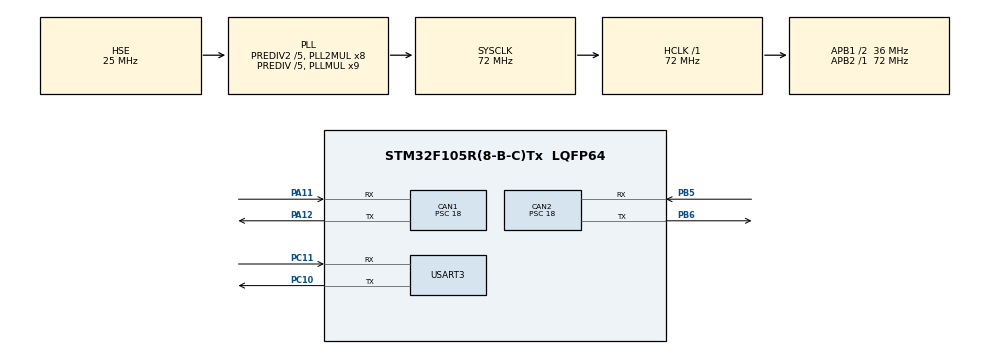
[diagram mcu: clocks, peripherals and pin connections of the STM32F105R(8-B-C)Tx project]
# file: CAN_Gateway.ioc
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CAN1.BS1=CAN_BS1_14TQ
CAN1.CalculateBaudRate=125000
CAN1.CalculateTimeBit=8000
CAN1.CalculateTimeQuantum=500.0
CAN1.Mode=CAN_MODE_NORMAL
CAN1.NART=ENABLE
CAN1.Prescaler=18
CAN2.BS1=CAN_BS1_2TQ
CAN2.CalculateBaudRate=500000
CAN2.CalculateTimeBit=2000
CAN2.CalculateTimeQuantum=500.0
CAN2.Mode=CAN_MODE_NORMAL
CAN2.NART=ENABLE
CAN2.Prescaler=18
Mcu.Family=STM32F1
Mcu.Name=STM32F105R(8-B-C)Tx
Mcu.Package=LQFP64
NVIC.PriorityGroup=NVIC_PRIORITYGROUP_4
PA11.Mode=CAN_Activate
PA11.Signal=CAN1_RX
PA12.Mode=CAN_Activate
PA12.Signal=CAN1_TX
PA13.Mode=Serial_Wire
PA13.Signal=SYS_JTMS-SWDIO
PA14.Mode=Serial_Wire
PA14.Signal=SYS_JTCK-SWCLK
PB5.Mode=CAN_Activate
PB5.Signal=CAN2_RX
PB6.Mode=CAN_Activate
PB6.Signal=CAN2_TX
PC10.Mode=Asynchronous
PC10.Signal=USART3_TX
PC11.Mode=Asynchronous
PC11.Signal=USART3_RX
PD0-OSC_IN.Mode=HSE-External-Oscillator
PD0-OSC_IN.Signal=RCC_OSC_IN
PD1-OSC_OUT.Mode=HSE-External-Oscillator
PD1-OSC_OUT.Signal=RCC_OSC_OUT
ProjectManager.HeapSize=0x200
ProjectManager.StackSize=0x400
ProjectManager.TargetToolchain=STM32CubeIDE
RCC.AHBFreq_Value=72000000
RCC.APB1CLKDivider=RCC_HCLK_DIV2
RCC.APB1Freq_Value=36000000
RCC.APB1TimFreq_Value=72000000
RCC.APB2Freq_Value=72000000
RCC.APB2TimFreq_Value=72000000
RCC.HCLKFreq_Value=72000000
RCC.HSEDivPLL=RCC_HSE_PREDIV_DIV5
RCC.HSE_VALUE=25000000
RCC.PLLMUL=RCC_PLL_MUL9
RCC.PLLSourceVirtual=RCC_PLLSOURCE_HSE
RCC.Prediv1Source=RCC_PREDIV1_SOURCE_PLL2
RCC.Prediv2=RCC_HSE_PREDIV2_DIV5
RCC.SYSCLKFreq_VALUE=72000000
RCC.SYSCLKSource=RCC_SYSCLKSOURCE_PLLCLK
RCC.USBFreq_Value=48000000
USART3.VirtualMode=VM_ASYNC
board=custom

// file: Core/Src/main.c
/* USER CODE BEGIN Header */
/**
  ******************************************************************************
  * @file           : main.c
  * @brief          : Main program body
  ******************************************************************************
  * @attention
  *
  * Copyright (c) 2023 STMicroelectronics.
  * All rights reserved.
  *
  * This software is licensed under terms that can be found in the LICENSE file
  * in the root directory of this software component.
  * If no LICENSE file comes with this software, it is provided AS-IS.
  *
  ******************************************************************************
  */
/* USER CODE END Header */
#include "main.h"

CAN_HandleTypeDef hcan1;
CAN_HandleTypeDef hcan2;

UART_HandleTypeDef huart3;

/* USER CODE BEGIN PV */
CAN_TxHeaderTypeDef TxHeader;
CAN_RxHeaderTypeDef RxHeader;
uint8_t TxData[8];
uint8_t RxData[8];
uint32_t TxMailbox;

uint32_t allowedIds[] = { 0x12F8BFA7, 0x12F8BE9F };
int allowedIdsSize;

//char uartBuffer[20] = "";
/* USER CODE END PV */

void SystemClock_Config(void);
static void MX_GPIO_Init(void);
static void MX_CAN1_Init(void);
static void MX_CAN2_Init(void);
static void MX_USART3_UART_Init(void);

int main(void)
{

  /* MCU Configuration--------------------------------------------------------*/

  /* Reset of all peripherals, Initializes the Flash interface and the Systick. */
  HAL_Init();

  /* Configure the system clock */
  SystemClock_Config();

  /* Initialize all configured peripherals */
  MX_GPIO_Init();
  MX_CAN1_Init();
  MX_CAN2_Init();
  MX_USART3_UART_Init();
  /* USER CODE BEGIN 2 */
  allowedIdsSize = sizeof allowedIds / sizeof allowedIds[0];
  char uartBuffer[] = "INIT\n";
  sendSerialMsg(uartBuffer, sizeof(uartBuffer));
  /* USER CODE END 2 */

  /* Infinite loop */
  /* USER CODE BEGIN WHILE */
  while (1)
  {

	  CAN_RX_STATUS rxStatus = recvCanMsg(hcan1);
	  if (rxStatus == RX_SUCCESSFUL)
	  {
		  CAN_TX_STATUS txStatus = relayCanMsg(hcan2, false);
		  if (txStatus == TX_BUFFER_FULL)
		  {
			  char uartBuffer[] = "TX2_BUFFER_FULL\n";
			  sendSerialMsg(uartBuffer, sizeof(uartBuffer));
		  }
		  else if (txStatus == TX_ERROR)
		  {
			  char uartBuffer[] = "TX2_ERROR\n";
			  sendSerialMsg(uartBuffer, sizeof(uartBuffer));
		  }
		  else if (txStatus == TX_SUCCESSFUL)
		  {
			  char uartBuffer[] = "TX2\n";
			  sendSerialMsg(uartBuffer, sizeof(uartBuffer));
		  }
	  }
	  else if (rxStatus == RX_ERROR)
	  {
		  char uartBuffer[] = "RX1_ERROR\n";
		  sendSerialMsg(uartBuffer, sizeof(uartBuffer));
	  }

	  // Uncomment for two-way gateway
	  /*
	  rxStatus = recvCanMsg(hcan2);
	  if (rxStatus == RX_SUCCESSFUL)
	  {
		  CAN_TX_STATUS txStatus = relayCanMsg(hcan1, false);
		  if (txStatus == TX_BUFFER_FULL)
		  {
			  char uartBuffer[] = "TX2_BUFFER_FULL\n";
			  sendSerialMsg(uartBuffer, sizeof(uartBuffer));
		  }
		  else if (txStatus == TX_ERROR)
		  {
			  char uartBuffer[] = "TX2_ERROR\n";
			  sendSerialMsg(uartBuffer, sizeof(uartBuffer));
		  }
		  else if (txStatus == TX_SUCCESSFUL)
		  {
			  char uartBuffer[] = "TX2\n";
			  sendSerialMsg(uartBuffer, sizeof(uartBuffer));
		  }
	  }
	  else if (rxStatus == RX_ERROR)
	  {
		  char uartBuffer[] = "RX1_ERROR\n";
		  sendSerialMsg(uartBuffer, sizeof(uartBuffer));
	  }
	  */

	  //HAL_Delay(100);
	  //sendTestMsg(hcan2, 0xAA);

    /* USER CODE END WHILE */

  }
}

void SystemClock_Config(void)
{
  RCC_OscInitTypeDef RCC_OscInitStruct = {0};
  RCC_ClkInitTypeDef RCC_ClkInitStruct = {0};

  /** Initializes the RCC Oscillators according to the specified parameters
  * in the RCC_OscInitTypeDef structure.
  */
  RCC_OscInitStruct.OscillatorType = RCC_OSCILLATORTYPE_HSE;
  RCC_OscInitStruct.HSEState = RCC_HSE_ON;
  RCC_OscInitStruct.HSEPredivValue = RCC_HSE_PREDIV_DIV5;
  RCC_OscInitStruct.HSIState = RCC_HSI_ON;
  RCC_OscInitStruct.Prediv1Source = RCC_PREDIV1_SOURCE_PLL2;
  RCC_OscInitStruct.PLL.PLLState = RCC_PLL_ON;
  RCC_OscInitStruct.PLL.PLLSource = RCC_PLLSOURCE_HSE;
  RCC_OscInitStruct.PLL.PLLMUL = RCC_PLL_MUL9;
  RCC_OscInitStruct.PLL2.PLL2State = RCC_PLL2_ON;
  RCC_OscInitStruct.PLL2.PLL2MUL = RCC_PLL2_MUL8;
  RCC_OscInitStruct.PLL2.HSEPrediv2Value = RCC_HSE_PREDIV2_DIV5;
  if (HAL_RCC_OscConfig(&RCC_OscInitStruct) != HAL_OK)
  {
    Error_Handler();
  }

  /** Initializes the CPU, AHB and APB buses clocks
  */
  RCC_ClkInitStruct.ClockType = RCC_CLOCKTYPE_HCLK|RCC_CLOCKTYPE_SYSCLK
                              |RCC_CLOCKTYPE_PCLK1|RCC_CLOCKTYPE_PCLK2;
  RCC_ClkInitStruct.SYSCLKSource = RCC_SYSCLKSOURCE_PLLCLK;
  RCC_ClkInitStruct.AHBCLKDivider = RCC_SYSCLK_DIV1;
  RCC_ClkInitStruct.APB1CLKDivider = RCC_HCLK_DIV2;
  RCC_ClkInitStruct.APB2CLKDivider = RCC_HCLK_DIV1;

  if (HAL_RCC_ClockConfig(&RCC_ClkInitStruct, FLASH_LATENCY_2) != HAL_OK)
  {
    Error_Handler();
  }

  /** Configure the Systick interrupt time
  */
  __HAL_RCC_PLLI2S_ENABLE();
}

static void MX_CAN1_Init(void)
{

  hcan1.Instance = CAN1;
  hcan1.Init.Prescaler = 18;
  hcan1.Init.Mode = CAN_MODE_NORMAL;
  hcan1.Init.SyncJumpWidth = CAN_SJW_1TQ;
  hcan1.Init.TimeSeg1 = CAN_BS1_14TQ;
  hcan1.Init.TimeSeg2 = CAN_BS2_1TQ;
  hcan1.Init.TimeTriggeredMode = DISABLE;
  hcan1.Init.AutoBusOff = DISABLE;
  hcan1.Init.AutoWakeUp = DISABLE;
  hcan1.Init.AutoRetransmission = ENABLE;
  hcan1.Init.ReceiveFifoLocked = DISABLE;
  hcan1.Init.TransmitFifoPriority = DISABLE;
  if (HAL_CAN_Init(&hcan1) != HAL_OK)
  {
    Error_Handler();
  }
  /* USER CODE BEGIN CAN1_Init 2 */
	CAN_FilterTypeDef sFilterConfig;
	sFilterConfig.FilterFIFOAssignment = CAN_FILTER_FIFO0;
	sFilterConfig.FilterBank = 0;
	sFilterConfig.FilterActivation = CAN_FILTER_ENABLE;
	sFilterConfig.FilterIdHigh = 0;
	sFilterConfig.FilterIdLow = 0;
	sFilterConfig.FilterMaskIdHigh = 0;
	sFilterConfig.FilterMaskIdLow = 0;
	sFilterConfig.FilterMode = CAN_FILTERMODE_IDMASK;
	sFilterConfig.FilterScale = CAN_FILTERSCALE_32BIT; //set filter scale
	sFilterConfig.SlaveStartFilterBank = 14; // 14 to 27 are assigned to slave CAN (CAN2), 0 to 13 are assigned to CAN1
	HAL_CAN_ConfigFilter(&hcan1, &sFilterConfig);

	if (HAL_CAN_Start(&hcan1) != HAL_OK) {
		/* Start Error */
		Error_Handler();
	}
  /* USER CODE END CAN1_Init 2 */

}

static void MX_CAN2_Init(void)
{

  hcan2.Instance = CAN2;
  hcan2.Init.Prescaler = 18;
  hcan2.Init.Mode = CAN_MODE_NORMAL;
  hcan2.Init.SyncJumpWidth = CAN_SJW_1TQ;
  hcan2.Init.TimeSeg1 = CAN_BS1_2TQ;
  hcan2.Init.TimeSeg2 = CAN_BS2_1TQ;
  hcan2.Init.TimeTriggeredMode = DISABLE;
  hcan2.Init.AutoBusOff = DISABLE;
  hcan2.Init.AutoWakeUp = DISABLE;
  hcan2.Init.AutoRetransmission = ENABLE;
  hcan2.Init.ReceiveFifoLocked = DISABLE;
  hcan2.Init.TransmitFifoPriority = DISABLE;
  if (HAL_CAN_Init(&hcan2) != HAL_OK)
  {
    Error_Handler();
  }
  /* USER CODE BEGIN CAN2_Init 2 */
	/*CAN_FilterTypeDef sFilterConfig;
	sFilterConfig.FilterFIFOAssignment = CAN_FILTER_FIFO0;
	sFilterConfig.FilterBank = 14;
	sFilterConfig.FilterActivation = CAN_FILTER_ENABLE;
	sFilterConfig.FilterIdHigh = 0;
	sFilterConfig.FilterIdLow = 0;
	sFilterConfig.FilterMaskIdHigh = 0;
	sFilterConfig.FilterMaskIdLow = 0;
	sFilterConfig.FilterMode = CAN_FILTERMODE_IDMASK;
	sFilterConfig.FilterScale = CAN_FILTERSCALE_32BIT; //set filter scale
	HAL_CAN_ConfigFilter(&hcan2, &sFilterConfig);*/

	if (HAL_CAN_Start(&hcan2) != HAL_OK) {
		/* Start Error */
		Error_Handler();
	}
  /* USER CODE END CAN2_Init 2 */

}

static void MX_USART3_UART_Init(void)
{

  huart3.Instance = USART3;
  huart3.Init.BaudRate = 115200;
  huart3.Init.WordLength = UART_WORDLENGTH_8B;
  huart3.Init.StopBits = UART_STOPBITS_1;
  huart3.Init.Parity = UART_PARITY_NONE;
  huart3.Init.Mode = UART_MODE_TX_RX;
  huart3.Init.HwFlowCtl = UART_HWCONTROL_NONE;
  huart3.Init.OverSampling = UART_OVERSAMPLING_16;
  if (HAL_UART_Init(&huart3) != HAL_OK)
  {
    Error_Handler();
  }

}

static void MX_GPIO_Init(void)
{

  /* GPIO Ports Clock Enable */
  __HAL_RCC_GPIOD_CLK_ENABLE();
  __HAL_RCC_GPIOA_CLK_ENABLE();
  __HAL_RCC_GPIOC_CLK_ENABLE();
  __HAL_RCC_GPIOB_CLK_ENABLE();

}

/* USER CODE BEGIN 4 */
CAN_TX_STATUS sendTestMsg(CAN_HandleTypeDef can, uint8_t data1)
{
	TxHeader.DLC = 1;
	TxHeader.StdId = 0x123;
	TxHeader.RTR = CAN_RTR_DATA;
	TxHeader.IDE = CAN_ID_STD;
	TxData[0] = data1;
	return sendCanMsg(can);
}

CAN_TX_STATUS sendCanMsg(CAN_HandleTypeDef can)
{
	uint32_t freeLevel = HAL_CAN_GetTxMailboxesFreeLevel(&can);
	if (freeLevel == 0)
		return TX_BUFFER_FULL;

	HAL_StatusTypeDef txStatus = HAL_CAN_AddTxMessage(&can, &TxHeader, TxData, &TxMailbox);
	if (txStatus != HAL_OK)
	{
		/* Transmission request Error */
		//Error_Handler();
		HAL_CAN_ResetError(&can);
		return TX_ERROR;
	}
	return TX_SUCCESSFUL;
}

CAN_RX_STATUS recvCanMsg(CAN_HandleTypeDef can)
{
	uint32_t fillLevel = HAL_CAN_GetRxFifoFillLevel(&can, CAN_RX_FIFO0);

	if (fillLevel == 0)
		return RX_BUFFER_EMPTY;

	HAL_StatusTypeDef rxStatus = HAL_CAN_GetRxMessage(&can, CAN_RX_FIFO0, &RxHeader, RxData);
	if (rxStatus != HAL_OK)
	{
		/* Reception Error */
		//Error_Handler();
		HAL_CAN_ResetError(&can);
		return RX_ERROR;
	}
	return RX_SUCCESSFUL;

}

CAN_TX_STATUS relayCanMsg(CAN_HandleTypeDef can, bool force)
{
	// Filter messages by id and relay only allowed ids
	if (!force)
	{
		bool relayMsg = false;
		if (RxHeader.IDE == CAN_ID_STD)
		{
			for(int i = 0; i < allowedIdsSize; i++)
			{
				if (allowedIds[i] == RxHeader.StdId)
				{
					relayMsg = true;
					break;
				}
			}
		}
		else if (RxHeader.IDE == CAN_ID_EXT)
		{
			for(int i = 0; i < allowedIdsSize; i++)
			{
				if (allowedIds[i] == RxHeader.ExtId)
				{
					relayMsg = true;
					break;
				}
			}
		}

		if (!relayMsg)
			return NO_MATCH;
	}

	// Copy rx buffer to tx buffer
	memcpy(TxData, RxData, 8);
	TxHeader.DLC = RxHeader.DLC;
	TxHeader.StdId = RxHeader.StdId;
	TxHeader.ExtId = RxHeader.ExtId;
	TxHeader.RTR = RxHeader.RTR;
	TxHeader.IDE = RxHeader.IDE;

	// Send message
	return sendCanMsg(can);
}

void sendSerialMsg(char *buffer, uint16_t bufferSize)
{
#ifndef DEBUG
	return;
#endif
	HAL_UART_Transmit(&huart3, buffer, bufferSize-1, 10);
}

void *memcpy (void *dest, const void *src, size_t len)
{
  char *d = dest;
  const char *s = src;
  while (len--)
    *d++ = *s++;
  return dest;
}
/* USER CODE END 4 */

void Error_Handler(void)
{
  __disable_irq();
  while (1)
  {
  }
}
